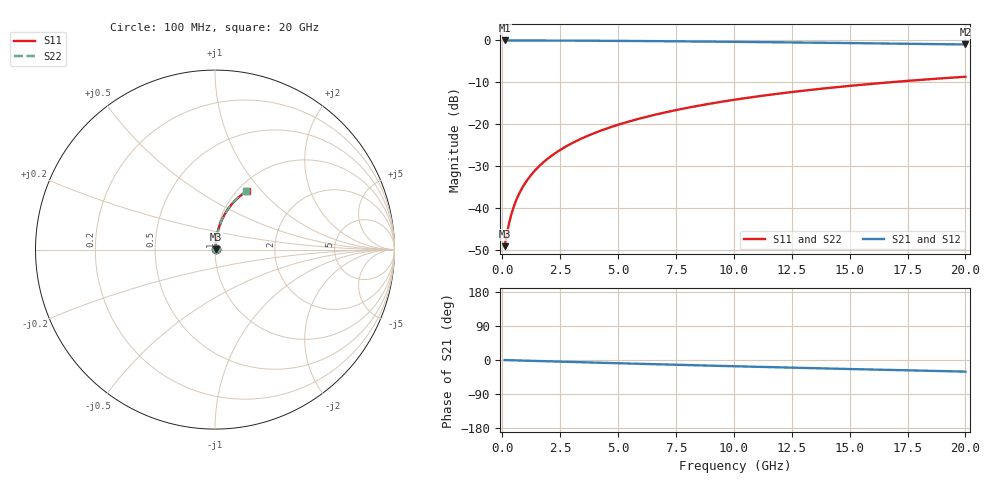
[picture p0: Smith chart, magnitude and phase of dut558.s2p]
! Touchstone file exported from HFSS 2024.1.0
!  File:  C:/UserFiles/LocalFiles/RDL_TSV_Batchsim/temp_RDL_bottom_558_1779689673.aedt
!  Generated:  02:17:03 PM May 25, 2026
!  Design:  RDL_bottom
!  Project:  temp_RDL_bottom_558_1779689673
!  Setup:  Setup1
!  Solution:  Sweep
! Variables:
!  dtsv = 10.80580581um
!  hbump = 3um
!  htsv = 58.44um
!  ldown = 374.38um
!  lrdl = 100um
!  p = 40
!  p1 = 47.64um
!  rhole = 1um
!  t = 450um
!  tdown = 3.86um
!  trdl = 3.915915916um
!  wdown = 12.26um
!  wrdl = 20um
# GHz S MA R 50.000000
! Terminal data exported
! Port[1] = RDL1_T1
! Port[2] = RDL1_T2
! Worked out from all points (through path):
!   200 points, 100 MHz to 20 GHz, reference 50 ohm
!   highest |S21| = -0.03 dB at 100 MHz (marker M1); lowest = -1.0 dB at 20 GHz (marker M2)
!   group delay of S21, straight-line fit = 4.25 ps
!   lowest |S11| = -49.0 dB at 100 MHz (marker M3), VSWR 1.01, Z = 50.3 + j0.206 ohm
!   |S11| at or under -10 dB: start of sweep to 16.7 GHz
!   |S22| runs from -49.0 to -8.7 dB; largest |S21 - S12| = 3.1e-15
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0.1  0.003554 35.3  0.9971 -0.2  0.9971 -0.2  0.003554 35.3
! Gamma 0 0 0 0
! Port Impedance 50 0 50 0
0.2  0.005046 54.2  0.997 -0.4  0.997 -0.4  0.005046 54.2
0.3  0.006818 63.6  0.997 -0.5  0.997 -0.5  0.006818 63.6
0.4  0.008684 69.0  0.9969 -0.7  0.9969 -0.7  0.008684 69.0
0.5  0.01059 72.4  0.9968 -0.9  0.9968 -0.9  0.01058 72.4
0.6  0.0125 74.7  0.9967 -1.1  0.9967 -1.1  0.0125 74.7
0.8  0.01636 77.7  0.9965 -1.4  0.9965 -1.4  0.01636 77.7
1.1  0.02219 80.1  0.9962 -1.9  0.9962 -1.9  0.02219 80.1
1.5  0.03001 81.7  0.9956 -2.6  0.9956 -2.6  0.03001 81.7
1.8  0.0359 82.3  0.9952 -3.1  0.9952 -3.1  0.0359 82.3
2.1  0.0418 82.6  0.9946 -3.6  0.9946 -3.6  0.0418 82.7
2.7  0.05361 82.8  0.9933 -4.7  0.9933 -4.7  0.05361 82.8
3.5  0.06939 82.5  0.9911 -6.0  0.9911 -6.0  0.06939 82.6
4.2  0.08319 82.0  0.9888 -7.2  0.9888 -7.2  0.0832 82.1
5  0.09895 81.3  0.9858 -8.5  0.9858 -8.5  0.09896 81.3
5.9  0.1166 80.3  0.9819 -10.0  0.9819 -10.0  0.1167 80.4
6.8  0.1343 79.3  0.9777 -11.5  0.9777 -11.5  0.1343 79.3
8.3  0.1634 77.4  0.97 -13.9  0.97 -13.9  0.1635 77.4
10.1  0.1979 75.0  0.9598 -16.6  0.9598 -16.6  0.1979 75.0
13.4  0.2589 70.5  0.9392 -21.5  0.9392 -21.5  0.259 70.5
16.7  0.3162 66.0  0.9168 -26.2  0.9168 -26.2  0.3163 66.0
20  0.3691 61.6  0.893 -30.6  0.893 -30.6  0.3692 61.6
